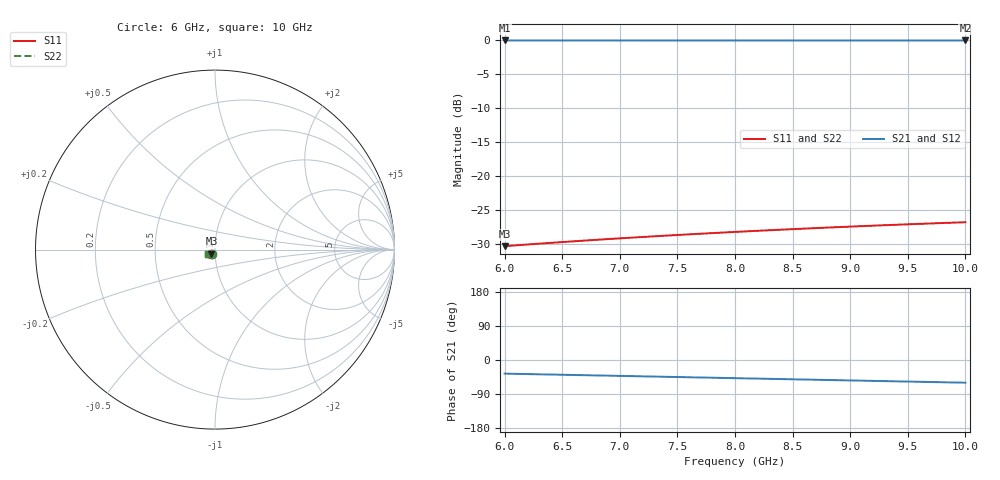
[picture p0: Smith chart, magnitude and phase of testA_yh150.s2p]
! Touchstone file exported from HFSS 2024.2.0
!  File:  C:/Users/artho/Documents/Ansoft/ansys_testA.aedt
!  Generated:  01:03:39 AM Sep  7, 2026
!  Design:  HFSS_W8X
!  Project:  ansys_testA
!  Setup:  Setup1
!  Solution:  Sweep1
!Data is not renormalized
# GHz S MA
! Terminal data exported
! Port[1] = p1
! Port[2] = p2
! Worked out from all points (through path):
!   41 points, 6 GHz to 10 GHz, reference per port
!   highest |S21| = 0.00 dB at 6 GHz (marker M1); lowest = 0.0 dB at 10 GHz (marker M2)
!   group delay of S21, straight-line fit = 16.6 ps
!   lowest |S11| = -30.3 dB at 6 GHz (marker M3), VSWR 1.06
!   |S11| at or under -10 dB: start of sweep to end of sweep
!   |S22| runs from -30.3 to -26.8 dB; largest |S21 - S12| = 5.2e-15
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6  0.03063 -130.6  0.9995 -36.0  0.9995 -36.0  0.03063 -121.4
6.1  0.03107 -131.0  0.9995 -36.6  0.9995 -36.6  0.03107 -122.1
6.3  0.03196 -132.0  0.9995 -37.8  0.9995 -37.8  0.03196 -123.5
6.5  0.03283 -133.0  0.9995 -38.9  0.9995 -38.9  0.03283 -124.9
6.7  0.03369 -134.0  0.9994 -40.1  0.9994 -40.1  0.03369 -126.3
6.8  0.03412 -134.5  0.9994 -40.7  0.9994 -40.7  0.03412 -127.0
7  0.03496 -135.5  0.9994 -41.9  0.9994 -41.9  0.03496 -128.4
7.2  0.03579 -136.5  0.9994 -43.1  0.9994 -43.1  0.03579 -129.7
7.4  0.03661 -137.6  0.9993 -44.3  0.9993 -44.3  0.03661 -131.1
7.7  0.03781 -139.1  0.9993 -46.1  0.9993 -46.1  0.03781 -133.1
8  0.03899 -140.7  0.9992 -47.9  0.9992 -47.9  0.03899 -135.2
8.2  0.03975 -141.7  0.9992 -49.1  0.9992 -49.1  0.03975 -136.5
8.4  0.0405 -142.8  0.9992 -50.3  0.9992 -50.3  0.0405 -137.8
8.7  0.0416 -144.4  0.9991 -52.1  0.9991 -52.1  0.0416 -139.8
8.9  0.04231 -145.5  0.9991 -53.3  0.9991 -53.3  0.04231 -141.2
9.1  0.04301 -146.5  0.9991 -54.5  0.9991 -54.5  0.04301 -142.5
9.3  0.04369 -147.6  0.999 -55.7  0.999 -55.7  0.04369 -143.8
9.4  0.04403 -148.1  0.999 -56.3  0.999 -56.3  0.04403 -144.5
9.6  0.04468 -149.2  0.999 -57.5  0.999 -57.5  0.04468 -145.8
9.7  0.04501 -149.8  0.999 -58.1  0.999 -58.1  0.04501 -146.4
9.9  0.04564 -150.8  0.999 -59.3  0.999 -59.3  0.04564 -147.8
10  0.04595 -151.4  0.9989 -59.9  0.9989 -59.9  0.04595 -148.4
